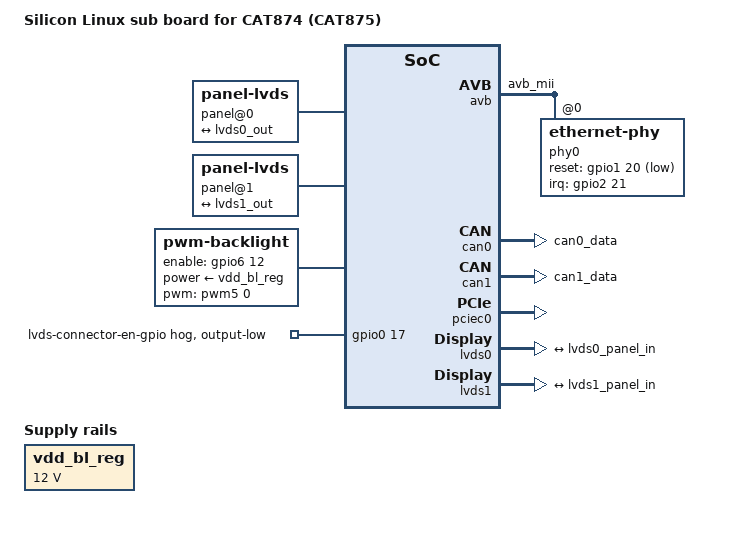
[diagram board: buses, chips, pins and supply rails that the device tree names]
// SPDX-License-Identifier: GPL-2.0
/*
 * Device Tree Source for the Silicon Linux sub board for CAT874 (CAT875)
 *
 * Copyright (C) 2019 Renesas Electronics Corp.
 */

/ {
	model = "Silicon Linux sub board for CAT874 (CAT875)";

	aliases {
		ethernet0 = &avb;
	};

	panel@0 {
		compatible = "panel-lvds";

		width-mm = <476>;
		height-mm = <268>;

		data-mapping = "vesa-24";

		panel-timing {
			clock-frequency = <148500000>;
			hactive = <1920>;
			vactive = <1080>;
			hsync-len = <44>;
			hfront-porch = <88>;
			hback-porch = <148>;
			vfront-porch = <4>;
			vback-porch = <36>;
			vsync-len = <5>;
		};

		port {
			lvds0_panel_in: endpoint {
				remote-endpoint = <&lvds0_out>;
			};
		};
	};

	panel@1 {
		compatible = "panel-lvds";

		width-mm = <476>;
		height-mm = <268>;

		data-mapping = "vesa-24";

		panel-timing {
			clock-frequency = <148500000>;
			hactive = <1920>;
			vactive = <1080>;
			hsync-len = <44>;
			hfront-porch = <88>;
			hback-porch = <148>;
			vfront-porch = <4>;
			vback-porch = <36>;
			vsync-len = <5>;
		};

		port {
			lvds1_panel_in: endpoint {
				remote-endpoint = <&lvds1_out>;
			};
		};
	};

	vdd_bl_reg: bl-regulator {
		compatible = "regulator-fixed";
		regulator-name = "fixed-12V";
		regulator-min-microvolt = <12000000>;
		regulator-max-microvolt = <12000000>;
		regulator-boot-on;
		regulator-always-on;
	};

	backlight {
		compatible = "pwm-backlight";
		pwms = <&pwm5 0 5000000>;

		brightness-levels = <0 4 8 16 32 64 128 255>;
		default-brightness-level = <6>;

		power-supply = <&vdd_bl_reg>;
		enable-gpios = <&gpio6 12 GPIO_ACTIVE_HIGH>;
	};
};

&avb {
	pinctrl-0 = <&avb_pins>;
	pinctrl-names = "default";
	renesas,no-ether-link;
	phy-handle = <&phy0>;
	phy-mode = "rgmii";
	status = "okay";

	phy0: ethernet-phy@0 {
		rxc-skew-ps = <1500>;
		reg = <0>;
		interrupt-parent = <&gpio2>;
		interrupts = <21 IRQ_TYPE_LEVEL_LOW>;
		reset-gpios = <&gpio1 20 GPIO_ACTIVE_LOW>;
	};
};

&can0 {
	pinctrl-0 = <&can0_pins>;
	pinctrl-names = "default";
	renesas,can-clock-select = <0x0>;
	status = "okay";
};

&can1 {
	pinctrl-0 = <&can1_pins>;
	pinctrl-names = "default";
	renesas,can-clock-select = <0x0>;
	status = "okay";
};

&pciec0 {
	status = "okay";
};

&pfc {
	avb_pins: avb {
		mux {
			groups = "avb_mii";
			function = "avb";
		};
	};

	can0_pins: can0 {
		groups = "can0_data";
		function = "can0";
	};

	can1_pins: can1 {
		groups = "can1_data";
		function = "can1";
	};
};

&lvds0 {
	status = "okay";

	clocks = <&cpg CPG_MOD 727>,
		 <&x13_clk>;
	clock-names = "fck", "dclkin.0";
	mode = "dual-link";
	swap = <1>;

	ports {
		port@1 {
			lvds0_out: endpoint {
				remote-endpoint = <&lvds0_panel_in>;
			};
		};
	};
};

&lvds1 {
	status = "okay";

	clocks = <&cpg CPG_MOD 727>,
		 <&x13_clk>;
	clock-names = "fck", "dclkin.0";
	mode = "dual-link";
	swap = <1>;

	ports {
		port@1 {
			lvds1_out: endpoint {
				remote-endpoint = <&lvds1_panel_in>;
			};
		};
	};
};

/* GP0_17 is used to select (SEL) output direction for LVDS-IF
 * SEL = L => To LVDS Connector
 * SEL = H => To MIPI-DSI
 *
 * Currently just support LVDS Connector so that set LOW for GP0_17
 */
&gpio0 {
	lvds-connector-en-gpio{
		gpio-hog;
		gpios = <17 GPIO_ACTIVE_HIGH>;
		output-low;
		line-name = "lvds-connector-en-gpio";
	};
};
